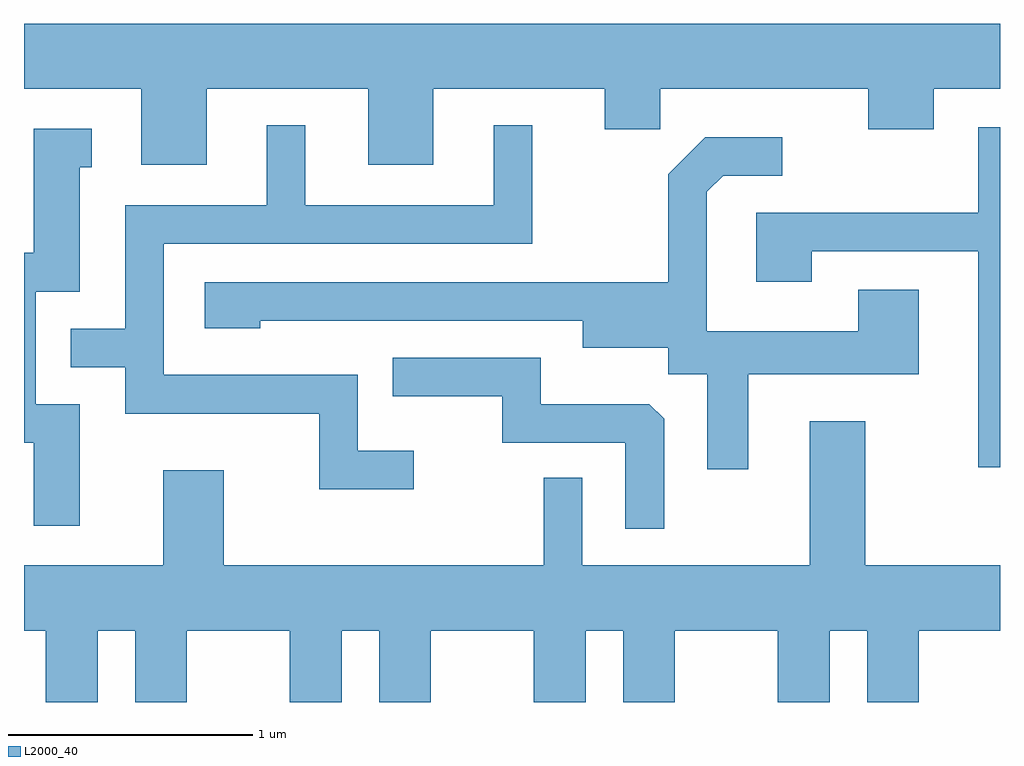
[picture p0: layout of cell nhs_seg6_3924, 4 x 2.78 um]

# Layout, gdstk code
import gdstk
lib = gdstk.Library(unit=1e-6, precision=1e-09)
def P(c, l, *ps):  # polygons
    for p in ps: c.add(gdstk.Polygon(p, *l))
L2000_40 = (2000, 40)

nhs_seg6_3924 = lib.new_cell('nhs_seg6_3924')
P(nhs_seg6_3924, L2000_40, [(304.359,1576.676),(305.021,1576.676),(305.021,1576.366),(305.289,1576.366),(305.289,1576.676),(305.991,1576.676),(305.991,1576.511),(306.219,1576.511),(306.219,1576.676),(307.071,1576.676),(307.071,1576.511),(307.339,1576.511),(307.339,1576.676),(307.611,1576.676),(307.611,1576.944),(303.611,1576.944),(303.611,1576.676),(304.091,1576.676),(304.091,1576.366),(304.359,1576.366)],
  [(305.208,1575.194),(304.979,1575.194),(304.979,1575.504),(304.184,1575.504),(304.184,1576.041),(305.694,1576.041),(305.694,1576.528),(305.536,1576.528),(305.536,1576.199),(304.764,1576.199),(304.764,1576.528),(304.606,1576.528),(304.606,1576.199),(304.026,1576.199),(304.026,1575.694),(303.803,1575.694),(303.803,1575.536),(304.026,1575.536),(304.026,1575.346),(304.821,1575.346),(304.821,1575.036),(305.208,1575.036)],
  [(307.611,1576.519),(307.521,1576.519),(307.521,1576.169),(306.611,1576.169),(306.611,1575.886),(306.839,1575.886),(306.839,1576.011),(307.521,1576.011),(307.521,1575.126),(307.611,1575.126)],
  [(303.839,1575.384),(303.659,1575.384),(303.659,1575.846),(303.839,1575.846),(303.839,1576.356),(303.888,1576.356),(303.888,1576.514),(303.651,1576.514),(303.651,1576.004),(303.611,1576.004),(303.611,1575.226),(303.651,1575.226),(303.651,1574.886),(303.839,1574.886)],
  [(306.579,1575.506),(307.279,1575.506),(307.279,1575.854),(307.031,1575.854),(307.031,1575.684),(306.409,1575.684),(306.409,1576.254),(306.477,1576.321),(306.718,1576.321),(306.718,1576.479),(306.404,1576.479),(306.251,1576.327),(306.251,1575.884),(304.351,1575.884),(304.351,1575.696),(304.579,1575.696),(304.579,1575.726),(305.901,1575.726),(305.901,1575.616),(306.251,1575.616),(306.251,1575.506),(306.411,1575.506),(306.411,1575.118),(306.579,1575.118)],
  [(306.234,1575.324),(306.174,1575.384),(305.729,1575.384),(305.729,1575.574),(305.123,1575.574),(305.123,1575.416),(305.571,1575.416),(305.571,1575.226),(306.076,1575.226),(306.076,1574.873),(306.234,1574.873)],
  [(303.914,1574.456),(304.066,1574.456),(304.066,1574.162),(304.279,1574.162),(304.279,1574.456),(304.701,1574.456),(304.701,1574.162),(304.914,1574.162),(304.914,1574.456),(305.066,1574.456),(305.066,1574.162),(305.279,1574.162),(305.279,1574.456),(305.701,1574.456),(305.701,1574.162),(305.914,1574.162),(305.914,1574.456),(306.066,1574.456),(306.066,1574.162),(306.279,1574.162),(306.279,1574.456),(306.701,1574.456),(306.701,1574.162),(306.914,1574.162),(306.914,1574.456),(307.066,1574.456),(307.066,1574.162),(307.279,1574.162),(307.279,1574.456),(307.611,1574.456),(307.611,1574.724),(307.059,1574.724),(307.059,1575.314),(306.831,1575.314),(306.831,1574.724),(305.899,1574.724),(305.899,1575.083),(305.741,1575.083),(305.741,1574.724),(304.429,1574.724),(304.429,1575.114),(304.181,1575.114),(304.181,1574.724),(303.611,1574.724),(303.611,1574.456),(303.701,1574.456),(303.701,1574.162),(303.914,1574.162)])

lib.write_gds('nhs_seg6_3924.gds')
